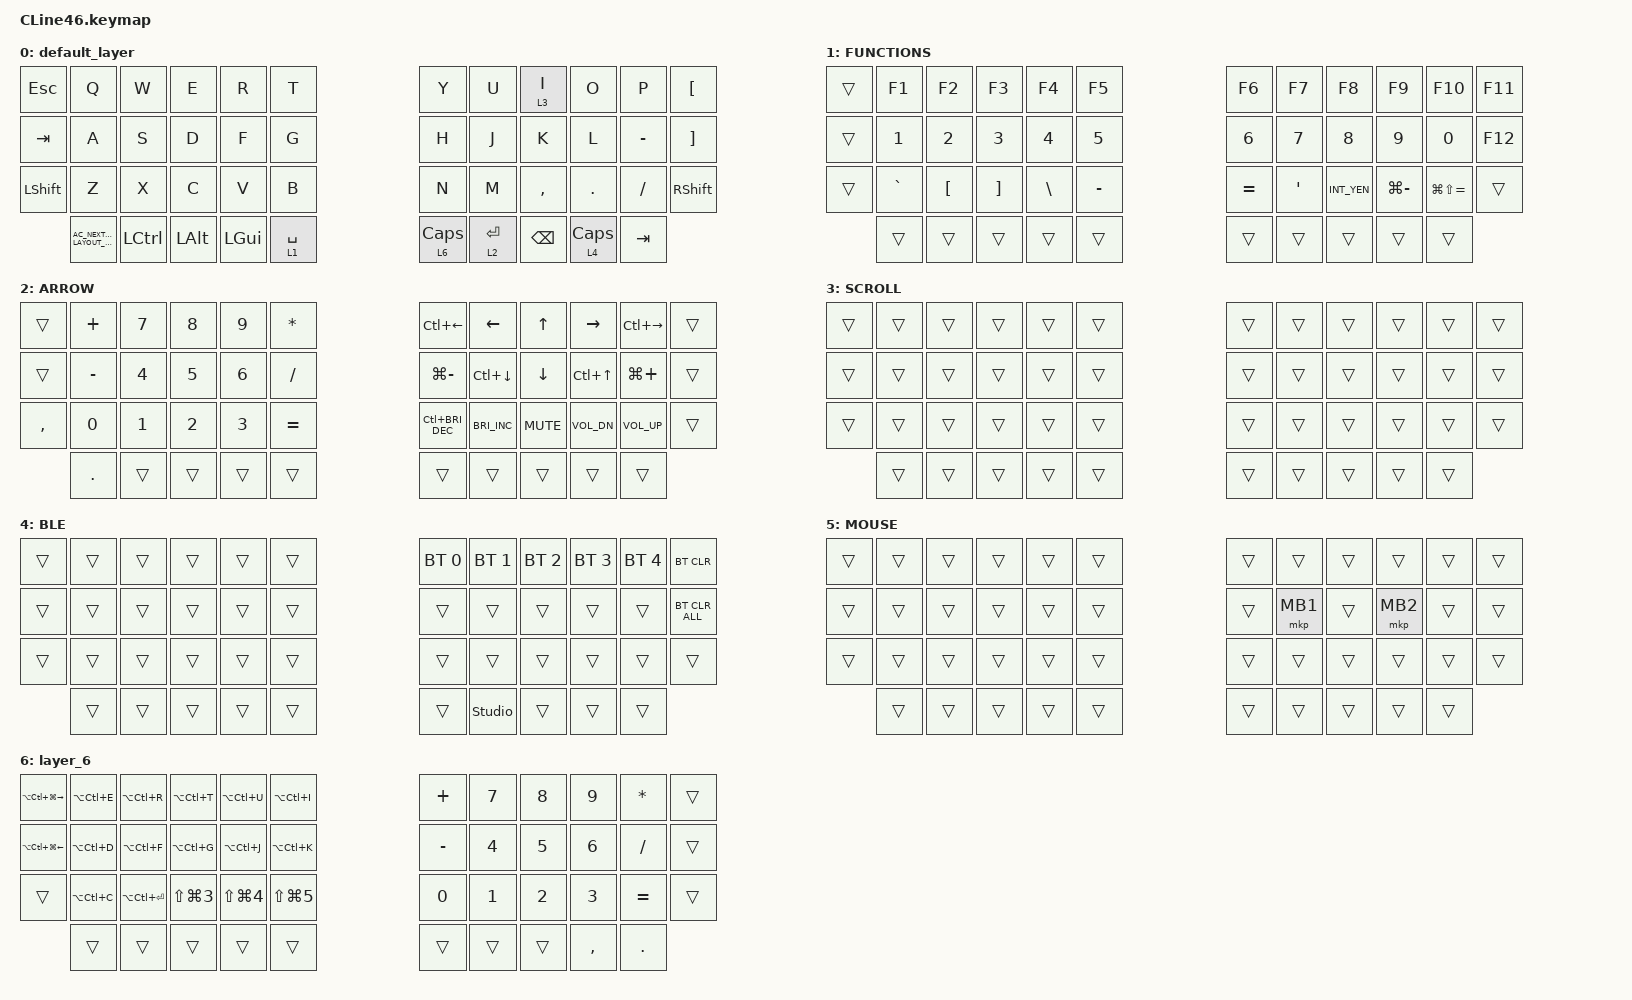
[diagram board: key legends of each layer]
#include <input/processors.dtsi>
#include <dt-bindings/zmk/input_transform.h>
#include <zephyr/dt-bindings/input/input-event-codes.h>
#include <behaviors.dtsi>
#include <dt-bindings/zmk/bt.h>
#include <dt-bindings/zmk/keys.h>
#include <dt-bindings/zmk/pointing.h>

&mt {
    flavor = "balanced";
    quick-tap-ms = <0>;
};

/ {
    combos {
        compatible = "zmk,combos";

        tab {
            bindings = <&kp TAB>;
            key-positions = <11 12>;
        };

        shift_tab {
            bindings = <&kp LS(TAB)>;
            key-positions = <12 13>;
        };
    };

    macros {
        to_layer_0: to_layer_0 {
            compatible = "zmk,behavior-macro-one-param";
            #binding-cells = <1>;
            bindings = <&to 0 &macro_param_1to1 &kp MACRO_PLACEHOLDER>;
            label = "TO_LAYER_0";
        };
    };

    behaviors {
        lt_to_layer_0: lt_to_layer_0 {
            compatible = "zmk,behavior-hold-tap";
            label = "LAYER_TAP_TO_0";
            bindings = <&mo>, <&to_layer_0>;

            #binding-cells = <2>;
            tapping-term-ms = <200>;
        };
    };

    keymap {
        compatible = "zmk,keymap";

        default_layer {
            bindings = <
&kp ESC     &kp Q                                 &kp W      &kp E     &kp R     &kp T                                    &kp Y     &kp U  &lt 3 I    &kp O       &kp P      &kp LEFT_BRACKET
&kp TAB     &kp A                                 &kp S      &kp D     &kp F     &kp G                                    &kp H     &kp J  &kp K      &kp L       &kp MINUS  &kp RIGHT_BRACKET
&kp LSHIFT  &kp Z                                 &kp X      &kp C     &kp V     &kp B                                    &kp N     &kp M  &kp COMMA  &kp DOT     &kp FSLH   &kp RSHIFT
            &kp C_AC_NEXT_KEYBOARD_LAYOUT_SELECT  &kp LCTRL  &kp LALT  &kp LGUI  &lt 1 SPACE  &lt 6 CAPS    &lt 2 RETURN  &kp BSPC                    &lt 4 CAPS  &kp TAB
            >;
        };

        Function {
            bindings = <
&trans  &kp F1     &kp F2    &kp F3    &kp F4    &kp F5                       &kp F6     &kp F7    &kp F8       &kp F9         &kp F10            &kp F11
&trans  &kp N1     &kp N2    &kp N3    &kp N4    &kp N5                       &kp N6     &kp N7    &kp N8       &kp N9         &kp N0             &kp F12
&trans  &kp GRAVE  &kp LBKT  &kp RBKT  &kp BSLH  &kp MINUS                    &kp EQUAL  &kp APOS  &kp INT_YEN  &kp LG(MINUS)  &kp LG(LS(EQUAL))  &trans
        &trans     &trans    &trans    &trans    &trans     &trans    &trans  &trans                            &trans         &trans
            >;

            label = "FUNCTIONS";
        };

        ARROW {
            bindings = <
&trans     &kp PLUS    &kp N7  &kp N8  &kp N9  &kp ASTERISK                    &kp LC(LEFT)              &kp LEFT_ARROW        &kp UP_ARROW  &kp RIGHT         &kp LC(RIGHT)    &trans
&trans     &kp MINUS   &kp N4  &kp N5  &kp N6  &kp SLASH                       &kp LG(MINUS)             &kp LC(DOWN_ARROW)    &kp DOWN      &kp LC(UP_ARROW)  &kp LG(PLUS)     &trans
&kp COMMA  &kp N0      &kp N1  &kp N2  &kp N3  &kp EQUAL                       &kp LC(C_BRIGHTNESS_DEC)  &kp C_BRIGHTNESS_INC  &kp K_MUTE    &kp C_VOL_DN      &kp C_VOLUME_UP  &trans
           &kp PERIOD  &trans  &trans  &trans  &trans        &trans    &trans  &trans                                                        &trans            &trans
            >;
        };

        SCROLL {
            bindings = <
&trans  &trans  &trans  &trans  &trans  &trans                    &trans  &trans  &trans  &trans  &trans  &trans
&trans  &trans  &trans  &trans  &trans  &trans                    &trans  &trans  &trans  &trans  &trans  &trans
&trans  &trans  &trans  &trans  &trans  &trans                    &trans  &trans  &trans  &trans  &trans  &trans
        &trans  &trans  &trans  &trans  &trans  &trans    &trans  &trans                  &trans  &trans
            >;
        };

        BLE {
            bindings = <
&trans  &trans  &trans  &trans  &trans  &trans                            &bt BT_SEL 0  &bt BT_SEL 1  &bt BT_SEL 2  &bt BT_SEL 3  &bt BT_SEL 4  &bt BT_CLR
&trans  &trans  &trans  &trans  &trans  &trans                            &trans        &trans        &trans        &trans        &trans        &bt BT_CLR_ALL
&trans  &trans  &trans  &trans  &trans  &trans                            &trans        &trans        &trans        &trans        &trans        &trans
        &trans  &trans  &trans  &trans  &trans  &trans    &studio_unlock  &trans                                    &trans        &trans
            >;
        };

        MOUSE {
            bindings = <
&trans  &trans  &trans  &trans  &trans  &trans                    &trans  &trans    &trans  &trans    &trans  &trans
&trans  &trans  &trans  &trans  &trans  &trans                    &trans  &mkp MB1  &trans  &mkp MB2  &trans  &trans
&trans  &trans  &trans  &trans  &trans  &trans                    &trans  &trans    &trans  &trans    &trans  &trans
        &trans  &trans  &trans  &trans  &trans  &trans    &trans  &trans                    &trans    &trans
            >;
        };

        layer_6 {
            bindings = <
&kp LA(LC(LG(RIGHT)))       &kp LA(LC(E))  &kp LA(LC(R))    &kp LA(LC(T))   &kp LA(LC(U))   &kp LA(LC(I))                     &kp PLUS   &kp N7  &kp N8  &kp N9     &kp ASTERISK  &trans
&kp LA(LC(LG(LEFT_ARROW)))  &kp LA(LC(D))  &kp LA(LC(F))    &kp LA(LC(G))   &kp LA(LC(J))   &kp LA(LC(K))                     &kp MINUS  &kp N4  &kp N5  &kp N6     &kp SLASH     &trans
&trans                      &kp LA(LC(C))  &kp LA(LC(RET))  &kp LS(LG(N3))  &kp LS(LG(N4))  &kp LS(LG(N5))                    &kp N0     &kp N1  &kp N2  &kp N3     &kp EQUAL     &trans
                            &trans         &trans           &trans          &trans          &trans          &trans    &trans  &trans                     &kp COMMA  &kp PERIOD
            >;
        };
    };
};
